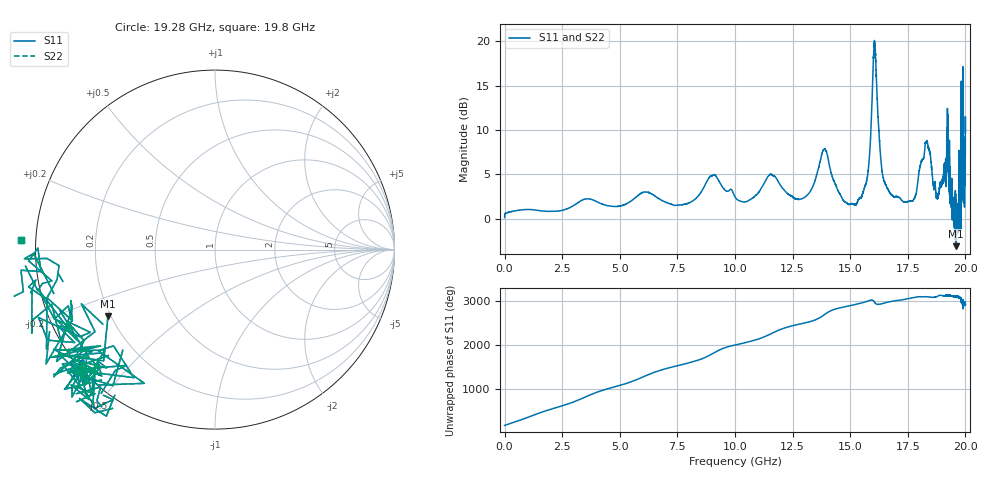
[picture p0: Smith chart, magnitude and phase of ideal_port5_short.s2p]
! Created with skrf (http://scikit-rf.org).
# GHz S RI R 50.0
!freq ReS11 ImS11 ReS21 ImS21 ReS12 ImS12 ReS22 ImS22
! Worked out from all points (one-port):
!   10001 points, 1 MHz to 20 GHz, reference 50 ohm
!   lowest |S11| = -3.1 dB at 19.6 GHz (marker M1), VSWR 5.71, Z = 9.45 - j13.8 ohm
!   |S11| at or under -10 dB: nowhere
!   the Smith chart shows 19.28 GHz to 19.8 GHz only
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0.001  -1.015 0.0303  0 0  0 0  -1.015 0.0303
2.588871  0.1505 -1.114  0 0  0 0  0.1505 -1.114
3.334833  0.5681 1.132  0 0  0 0  0.5681 1.132
3.858807  -1.272 -0.0676  0 0  0 0  -1.272 -0.0676
5.058747  1.146 0.3004  0 0  0 0  1.146 0.3004
5.946703  -1.394 -0.091  0 0  0 0  -1.394 -0.091
6.668667  1.172 -0.5663  0 0  0 0  1.172 -0.5663
8.214589  -1.262 -0.1795  0 0  0 0  -1.262 -0.1795
9.020549  1.743 0.1683  0 0  0 0  1.743 0.1683
10.0005  -1.257 -0.4344  0 0  0 0  -1.257 -0.4344
11.14244  1.487 -0.0585  0 0  0 0  1.487 -0.0585
11.87441  -1.613 0.1812  0 0  0 0  -1.613 0.1812
13.33433  1.367 0.5635  0 0  0 0  1.367 0.5635
13.89831  -2.464 0.1986  0 0  0 0  -2.464 0.1986
14.66827  1.182 -0.519  0 0  0 0  1.182 -0.519
15.79821  -1.082 1.641  0 0  0 0  -1.082 1.641
15.9502  -3.601 3.027  0 0  0 0  -3.601 3.027
16.0602  0.8327 9.416  0 0  0 0  0.8327 9.416
16.17619  3.372 3.149  0 0  0 0  3.372 3.149
16.66817  -0.166 1.43  0 0  0 0  -0.166 1.43
19.59602  -0.5964 -0.37  0 0  0 0  -0.5964 -0.37
20  2.646 1.515  0 0  0 0  2.646 1.515
